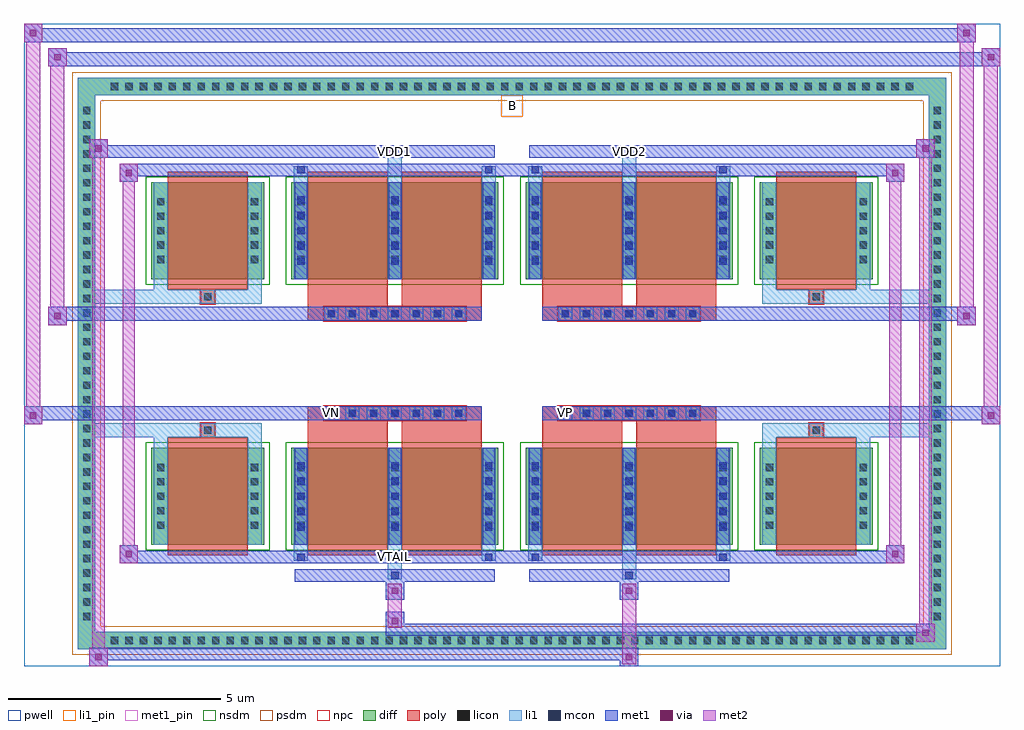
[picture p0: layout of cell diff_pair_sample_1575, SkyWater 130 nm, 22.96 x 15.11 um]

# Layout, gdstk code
import gdstk
lib = gdstk.Library(unit=1e-6, precision=5e-09)
def R(c, l, rs):  # rectangles x0, y0, x1, y1
    for r in rs: c.add(gdstk.rectangle(r[:2], r[2:], *l))
def A(c, l, x, y, w, h, nx, ny, dx, dy):  # array of equal rectangles
    R(c, l, [(x+i*dx, y+j*dy, x+i*dx+w, y+j*dy+h) for i in range(nx) for j in range(ny)])
def P(c, l, *ps):  # polygons
    for p in ps: c.add(gdstk.Polygon(p, *l))
pwell = (64, 44)
diff = (65, 20)
poly = (66, 20)
licon = (66, 44)
li1_pin = (67, 16)
li1 = (67, 20)
mcon = (67, 44)
met1_pin = (68, 16)
met1 = (68, 20)
via = (68, 44)
met2 = (69, 20)
nsdm = (93, 44)
psdm = (94, 20)
npc = (95, 20)

diff_pair_sample_1575 = lib.new_cell('diff_pair_sample_1575')
R(diff_pair_sample_1575, pwell, [(-11.48,-7.12,11.48,7.99), (-8.8,-5.31,-0.01,-0.805), (0.01,-5.31,8.8,-0.805), (-8.8,0.805,-0.01,5.31), (0.01,0.805,8.8,5.31)])
A(diff_pair_sample_1575, diff, -9.555, -6.72, 0.41, 0.41, 56, 2, 0.34, 13.03)
A(diff_pair_sample_1575, diff, -10.21, -6.155, 0.41, 0.41, 1, 36, 0, 0.34)
A(diff_pair_sample_1575, diff, 9.8, -6.155, 0.41, 0.41, 1, 36, 0, 0.34)
R(diff_pair_sample_1575, diff, [(-9.555,-6.72,9.555,-6.31), (-10.21,-6.155,-9.8,6.155), (9.8,-6.155,10.21,6.155), (-8.49,-4.265,-5.83,-1.985), (-5.19,-4.265,-0.32,-1.985), (0.32,-4.265,5.19,-1.985), (5.83,-4.265,8.49,-1.985), (-8.49,1.985,-5.83,4.265), (-5.19,1.985,-0.32,4.265), (0.32,1.985,5.19,4.265), (5.83,1.985,8.49,4.265), (-9.555,6.31,9.555,6.72)])
P(diff_pair_sample_1575, diff, [(10.21,6.72),(-10.21,6.72),(-10.21,-6.31),(-9.8,-6.31),(-9.8,6.31),(9.8,6.31),(9.8,-6.31),(-9.8,-6.31),(-10.21,-6.31),(-10.21,-6.72),(10.21,-6.72)])
A(diff_pair_sample_1575, poly, -4.42, -1.335, 0.33, 0.33, 7, 2, 0.5, 2.34)
A(diff_pair_sample_1575, poly, 1.09, -1.335, 0.33, 0.33, 7, 2, 0.5, 2.34)
R(diff_pair_sample_1575, poly, [(-8.1,-4.515,-6.22,-1.735), (-4.8,-4.515,-2.92,-1.735), (-2.59,-4.515,-0.71,-1.735), (0.71,-4.515,2.59,-1.735), (2.92,-4.515,4.8,-1.735), (6.22,-4.515,8.1,-1.735), (-7.325,-1.735,-6.995,-1.405), (-7.325,-1.735,-6.995,-1.405), (-4.8,-1.735,-2.92,-1.335), (-2.59,-1.735,-0.71,-1.335), (0.71,-1.735,2.59,-1.335), (2.92,-1.735,4.8,-1.335), (6.995,-1.735,7.325,-1.405), (6.995,-1.735,7.325,-1.405), (-4.8,-1.335,-0.71,-1.005), (0.71,-1.335,4.8,-1.005), (-4.8,1.005,-0.71,1.335), (0.71,1.005,4.8,1.335), (-4.8,1.335,-2.92,1.735), (-2.59,1.335,-0.71,1.735), (0.71,1.335,2.59,1.735), (2.92,1.335,4.8,1.735), (-7.325,1.405,-6.995,1.735), (-7.325,1.405,-6.995,1.735), (6.995,1.405,7.325,1.735), (6.995,1.405,7.325,1.735), (-8.1,1.735,-6.22,4.515), (-4.8,1.735,-2.92,4.515), (-2.59,1.735,-0.71,4.515), (0.71,1.735,2.59,4.515), (2.92,1.735,4.8,4.515), (6.22,1.735,8.1,4.515)])
A(diff_pair_sample_1575, licon, -9.435, -6.6, 0.17, 0.17, 56, 2, 0.34, 13.03)
A(diff_pair_sample_1575, licon, -10.09, -6.035, 0.17, 0.17, 1, 36, 0, 0.34)
A(diff_pair_sample_1575, licon, 9.92, -6.035, 0.17, 0.17, 1, 36, 0, 0.34)
A(diff_pair_sample_1575, licon, -8.35, -3.89, 0.17, 0.17, 1, 5, 0, 0.34)
A(diff_pair_sample_1575, licon, -6.14, -3.89, 0.17, 0.17, 1, 5, 0, 0.34)
A(diff_pair_sample_1575, licon, -5.05, -3.89, 0.17, 0.17, 3, 5, 2.21, 0.34)
A(diff_pair_sample_1575, licon, 0.46, -3.89, 0.17, 0.17, 3, 5, 2.21, 0.34)
A(diff_pair_sample_1575, licon, 5.97, -3.89, 0.17, 0.17, 1, 5, 0, 0.34)
A(diff_pair_sample_1575, licon, 8.18, -3.89, 0.17, 0.17, 1, 5, 0, 0.34)
A(diff_pair_sample_1575, licon, -4.34, -1.255, 0.17, 0.17, 7, 2, 0.5, 2.34)
A(diff_pair_sample_1575, licon, 1.17, -1.255, 0.17, 0.17, 7, 2, 0.5, 2.34)
A(diff_pair_sample_1575, licon, -8.35, 2.36, 0.17, 0.17, 1, 5, 0, 0.34)
A(diff_pair_sample_1575, licon, -6.14, 2.36, 0.17, 0.17, 1, 5, 0, 0.34)
A(diff_pair_sample_1575, licon, -5.05, 2.36, 0.17, 0.17, 3, 5, 2.21, 0.34)
A(diff_pair_sample_1575, licon, 0.46, 2.36, 0.17, 0.17, 3, 5, 2.21, 0.34)
A(diff_pair_sample_1575, licon, 5.97, 2.36, 0.17, 0.17, 1, 5, 0, 0.34)
A(diff_pair_sample_1575, licon, 8.18, 2.36, 0.17, 0.17, 1, 5, 0, 0.34)
R(diff_pair_sample_1575, licon, [(-7.245,-1.655,-7.075,-1.485), (7.075,-1.655,7.245,-1.485), (-7.245,1.485,-7.075,1.655), (7.075,1.485,7.245,1.655)])
R(diff_pair_sample_1575, li1_pin, [(-0.25,5.81,0.25,6.31)])
A(diff_pair_sample_1575, li1, -9.515, -6.68, 0.33, 0.33, 56, 2, 0.34, 13.03)
A(diff_pair_sample_1575, li1, -10.17, -6.115, 0.33, 0.33, 1, 36, 0, 0.34)
A(diff_pair_sample_1575, li1, 9.84, -6.115, 0.33, 0.33, 1, 36, 0, 0.34)
A(diff_pair_sample_1575, li1, -5.13, -4.265, 0.33, 2.28, 3, 2, 2.21, 6.25)
A(diff_pair_sample_1575, li1, 0.38, -4.265, 0.33, 2.28, 3, 2, 2.21, 6.25)
A(diff_pair_sample_1575, li1, -8.43, -3.97, 0.33, 0.33, 1, 5, 0, 0.34)
A(diff_pair_sample_1575, li1, -6.22, -3.97, 0.33, 0.33, 1, 5, 0, 0.34)
A(diff_pair_sample_1575, li1, -5.13, -3.97, 0.33, 0.33, 3, 5, 2.21, 0.34)
A(diff_pair_sample_1575, li1, 0.38, -3.97, 0.33, 0.33, 3, 5, 2.21, 0.34)
A(diff_pair_sample_1575, li1, 5.89, -3.97, 0.33, 0.33, 1, 5, 0, 0.34)
A(diff_pair_sample_1575, li1, 8.1, -3.97, 0.33, 0.33, 1, 5, 0, 0.34)
A(diff_pair_sample_1575, li1, -5.05, -3.93, 0.17, 0.17, 3, 5, 2.21, 0.36)
A(diff_pair_sample_1575, li1, -5.05, -3.93, 0.17, 1.61, 3, 2, 2.21, 6.25)
A(diff_pair_sample_1575, li1, 0.46, -3.93, 0.17, 0.17, 3, 5, 2.21, 0.36)
A(diff_pair_sample_1575, li1, 0.46, -3.93, 0.17, 1.61, 3, 2, 2.21, 6.25)
A(diff_pair_sample_1575, li1, -4.42, -1.335, 0.33, 0.33, 7, 2, 0.5, 2.34)
A(diff_pair_sample_1575, li1, 1.09, -1.335, 0.33, 0.33, 7, 2, 0.5, 2.34)
A(diff_pair_sample_1575, li1, -8.43, 2.28, 0.33, 0.33, 1, 5, 0, 0.34)
A(diff_pair_sample_1575, li1, -6.22, 2.28, 0.33, 0.33, 1, 5, 0, 0.34)
A(diff_pair_sample_1575, li1, -5.13, 2.28, 0.33, 0.33, 3, 5, 2.21, 0.34)
A(diff_pair_sample_1575, li1, 0.38, 2.28, 0.33, 0.33, 3, 5, 2.21, 0.34)
A(diff_pair_sample_1575, li1, 5.89, 2.28, 0.33, 0.33, 1, 5, 0, 0.34)
A(diff_pair_sample_1575, li1, 8.1, 2.28, 0.33, 0.33, 1, 5, 0, 0.34)
A(diff_pair_sample_1575, li1, -5.05, 2.32, 0.17, 0.17, 3, 5, 2.21, 0.36)
A(diff_pair_sample_1575, li1, 0.46, 2.32, 0.17, 0.17, 3, 5, 2.21, 0.36)
R(diff_pair_sample_1575, li1, [(-10.21,-6.72,-9.8,-6.31), (-10.21,-6.72,-9.8,-6.31), (-9.8,-6.72,9.8,-6.31), (9.8,-6.72,10.21,-6.31), (9.8,-6.72,10.21,-6.31), (-10.21,-6.31,-9.8,6.31), (9.8,-6.31,10.21,6.31), (-2.92,-5.07,-2.59,-4.265), (-2.84,-5.07,-2.67,-4.9), (2.59,-5.07,2.92,-4.265), (2.67,-5.07,2.84,-4.9), (-5.13,-4.64,-4.8,-4.265), (-5.05,-4.64,-4.88,-4.47), (-0.71,-4.64,-0.38,-4.265), (-0.63,-4.64,-0.46,-4.47), (0.38,-4.64,0.71,-4.265), (0.46,-4.64,0.63,-4.47), (4.8,-4.64,5.13,-4.265), (4.88,-4.64,5.05,-4.47), (-8.43,-4.265,-8.1,-1.985), (-6.22,-4.265,-5.89,-1.985), (5.89,-4.265,6.22,-1.985), (8.1,-4.265,8.43,-1.985), (-8.43,-1.985,-8.1,-1.405), (-6.22,-1.985,-5.89,-1.405), (5.89,-1.985,6.22,-1.405), (8.1,-1.985,8.43,-1.405), (-10.21,-1.735,-7.325,-1.405), (-8.43,-1.735,-7.325,-1.405), (-7.325,-1.735,-6.995,-1.405), (-6.995,-1.735,-5.89,-1.405), (5.89,-1.735,6.995,-1.405), (6.995,-1.735,7.325,-1.405), (6.995,-1.735,10.21,-1.405), (7.325,-1.735,8.43,-1.405), (-10.21,1.405,-7.325,1.735), (-8.43,1.405,-7.325,1.735), (-8.43,1.405,-8.1,1.985), (-7.325,1.405,-6.995,1.735), (-6.995,1.405,-5.89,1.735), (-6.22,1.405,-5.89,1.985), (5.89,1.405,6.995,1.735), (5.89,1.405,6.22,1.985), (6.995,1.405,7.325,1.735), (6.995,1.405,10.21,1.735), (7.325,1.405,8.43,1.735), (8.1,1.405,8.43,1.985), (-8.43,1.985,-8.1,4.265), (-6.22,1.985,-5.89,4.265), (5.89,1.985,6.22,4.265), (8.1,1.985,8.43,4.265), (-5.13,4.265,-4.8,4.64), (-2.92,4.265,-2.59,5.07), (-0.71,4.265,-0.38,4.64), (0.38,4.265,0.71,4.64), (2.59,4.265,2.92,5.07), (4.8,4.265,5.13,4.64), (-5.05,4.47,-4.88,4.64), (-0.63,4.47,-0.46,4.64), (0.46,4.47,0.63,4.64), (4.88,4.47,5.05,4.64), (-2.84,4.9,-2.67,5.07), (2.67,4.9,2.84,5.07), (-10.21,6.31,-9.8,6.72), (-10.21,6.31,-9.8,6.72), (-9.8,6.31,9.8,6.72), (9.8,6.31,10.21,6.72), (9.8,6.31,10.21,6.72)])
A(diff_pair_sample_1575, mcon, -5.05, -3.93, 0.17, 0.17, 3, 5, 2.21, 0.36)
A(diff_pair_sample_1575, mcon, 0.46, -3.93, 0.17, 0.17, 3, 5, 2.21, 0.36)
A(diff_pair_sample_1575, mcon, -4.34, -1.255, 0.17, 0.17, 7, 2, 0.5, 2.34)
A(diff_pair_sample_1575, mcon, 1.17, -1.255, 0.17, 0.17, 7, 2, 0.5, 2.34)
A(diff_pair_sample_1575, mcon, -5.05, 2.32, 0.17, 0.17, 3, 5, 2.21, 0.36)
A(diff_pair_sample_1575, mcon, 0.46, 2.32, 0.17, 0.17, 3, 5, 2.21, 0.36)
R(diff_pair_sample_1575, mcon, [(-2.84,-5.07,-2.67,-4.9), (2.67,-5.07,2.84,-4.9), (-5.05,-4.64,-4.88,-4.47), (-0.63,-4.64,-0.46,-4.47), (0.46,-4.64,0.63,-4.47), (4.88,-4.64,5.05,-4.47), (-5.05,4.47,-4.88,4.64), (-0.63,4.47,-0.46,4.64), (0.46,4.47,0.63,4.64), (4.88,4.47,5.05,4.64), (-2.84,4.9,-2.67,5.07), (2.67,4.9,2.84,5.07)])
R(diff_pair_sample_1575, met1_pin, [(-2.89,-4.68,-2.62,-4.41), (-4.39,-1.295,-4.12,-1.025), (1.12,-1.295,1.39,-1.025), (-2.89,4.86,-2.62,5.13), (2.62,4.86,2.89,5.13)])
A(diff_pair_sample_1575, met1, -5.11, -4.265, 0.29, 2.28, 3, 2, 2.21, 6.25)
A(diff_pair_sample_1575, met1, 0.4, -4.265, 0.29, 2.28, 3, 2, 2.21, 6.25)
A(diff_pair_sample_1575, met1, -5.11, -3.99, 0.29, 0.29, 3, 5, 2.21, 0.36)
A(diff_pair_sample_1575, met1, 0.4, -3.99, 0.29, 0.29, 3, 5, 2.21, 0.36)
A(diff_pair_sample_1575, met1, -4.4, -1.315, 0.29, 0.29, 7, 2, 0.5, 2.34)
A(diff_pair_sample_1575, met1, 1.11, -1.315, 0.29, 0.29, 7, 2, 0.5, 2.34)
A(diff_pair_sample_1575, met1, -5.11, 2.26, 0.29, 0.29, 3, 5, 2.21, 0.36)
A(diff_pair_sample_1575, met1, 0.4, 2.26, 0.29, 0.29, 3, 5, 2.21, 0.36)
R(diff_pair_sample_1575, met1, [(-9.94,-7.12,-9.51,-6.69), (2.54,-7.12,2.97,-6.69), (-9.94,-6.98,2.97,-6.69), (9.51,-6.55,9.94,-6.12), (-2.97,-6.41,9.94,-6.12), (-2.97,-6.27,-2.54,-5.84), (-2.97,-5.56,-2.54,-5.13), (2.54,-5.56,2.97,-5.13), (-5.11,-5.13,-0.4,-4.84), (-2.9,-5.13,-2.61,-4.84), (0.4,-5.13,5.11,-4.84), (2.61,-5.13,2.9,-4.84), (-9.23,-4.7,-8.8,-4.27), (-9.23,-4.7,-5.11,-4.41), (-5.11,-4.7,-4.82,-4.41), (-5.11,-4.7,-0.4,-4.41), (-0.69,-4.7,-0.4,-4.41), (-0.4,-4.7,0.4,-4.41), (0.4,-4.7,0.69,-4.41), (0.4,-4.7,5.11,-4.41), (4.82,-4.7,5.11,-4.41), (5.11,-4.7,9.23,-4.41), (8.8,-4.7,9.23,-4.27), (-11.48,-1.435,-11.05,-1.005), (11.05,-1.435,11.48,-1.005), (-11.48,-1.335,-0.71,-1.005), (-4.8,-1.335,-0.71,-1.005), (0.71,-1.335,4.8,-1.005), (0.71,-1.335,11.48,-1.005), (-10.91,0.905,-10.48,1.335), (10.48,0.905,10.91,1.335), (-10.91,1.005,-4.8,1.335), (-4.8,1.005,-0.71,1.335), (0.71,1.005,4.8,1.335), (4.8,1.005,10.91,1.335), (-9.23,4.27,-8.8,4.7), (8.8,4.27,9.23,4.7), (-9.23,4.41,-5.11,4.7), (-5.11,4.41,-4.82,4.7), (-5.11,4.41,-0.4,4.7), (-0.69,4.41,-0.4,4.7), (-0.4,4.41,0.4,4.7), (0.4,4.41,0.69,4.7), (0.4,4.41,5.11,4.7), (4.82,4.41,5.11,4.7), (5.11,4.41,9.23,4.7), (-9.94,4.84,-9.51,5.27), (-9.94,4.84,-5.11,5.13), (-5.11,4.84,-0.4,5.13), (-2.9,4.84,-2.61,5.13), (0.4,4.84,5.11,5.13), (2.61,4.84,2.9,5.13), (5.11,4.84,9.94,5.13), (9.51,4.84,9.94,5.27), (-10.91,6.99,-10.48,7.42), (-10.91,6.99,-8.8,7.32), (-8.8,6.99,8.8,7.32), (8.8,6.99,11.48,7.32), (11.05,6.99,11.48,7.42), (-11.48,7.56,-11.05,7.99), (-11.48,7.56,-8.8,7.89), (-8.8,7.56,8.8,7.89), (8.8,7.56,10.91,7.89), (10.48,7.56,10.91,7.99)])
R(diff_pair_sample_1575, via, [(-9.8,-6.98,-9.65,-6.83), (2.68,-6.98,2.83,-6.83), (9.65,-6.41,9.8,-6.26), (-2.83,-6.13,-2.68,-5.98), (-2.83,-5.42,-2.68,-5.27), (2.68,-5.42,2.83,-5.27), (-9.09,-4.56,-8.94,-4.41), (8.94,-4.56,9.09,-4.41), (-11.34,-1.295,-11.19,-1.145), (11.19,-1.295,11.34,-1.145), (-10.77,1.045,-10.62,1.195), (10.62,1.045,10.77,1.195), (-9.09,4.41,-8.94,4.56), (8.94,4.41,9.09,4.56), (-9.8,4.98,-9.65,5.13), (9.65,4.98,9.8,5.13), (-10.77,7.13,-10.62,7.28), (11.19,7.13,11.34,7.28), (-11.34,7.7,-11.19,7.85), (10.62,7.7,10.77,7.85)])
R(diff_pair_sample_1575, met2, [(-9.94,-7.12,-9.51,-6.69), (-9.87,-7.12,-9.58,5.27), (-9.58,-7.12,-9.51,-6.69), (-9.89,-7.07,-9.56,-6.74), (2.59,-7.07,2.92,-6.74), (2.59,-6.74,2.92,-5.51), (9.51,-6.55,9.94,-6.12), (9.58,-6.55,9.87,5.27), (9.87,-6.55,9.94,-6.12), (9.56,-6.5,9.89,-6.17), (-2.92,-6.22,-2.59,-5.89), (-2.92,-5.89,-2.59,-5.51), (-2.92,-5.51,-2.59,-5.18), (2.59,-5.51,2.92,-5.18), (-9.23,-4.7,-8.8,-4.27), (-9.16,-4.7,-8.87,4.7), (-8.87,-4.7,-8.8,-4.27), (8.8,-4.7,9.23,-4.27), (8.87,-4.7,9.16,4.7), (9.16,-4.7,9.23,-4.27), (-9.18,-4.65,-8.85,-4.32), (8.85,-4.65,9.18,-4.32), (-11.48,-1.435,-11.05,-1.005), (-11.43,-1.435,-11.1,7.99), (-11.1,-1.435,-11.05,-1.005), (11.05,-1.435,11.48,-1.005), (11.1,-1.435,11.43,7.42), (11.43,-1.435,11.48,-1.005), (-11.43,-1.385,-11.1,-1.055), (11.1,-1.385,11.43,-1.055), (-10.91,0.905,-10.48,1.335), (-10.86,0.905,-10.53,7.42), (-10.53,0.905,-10.48,1.335), (10.48,0.905,10.91,1.335), (10.53,0.905,10.86,7.99), (10.86,0.905,10.91,1.335), (-10.86,0.955,-10.53,1.285), (10.53,0.955,10.86,1.285), (-9.23,4.27,-8.8,4.7), (-8.87,4.27,-8.8,4.7), (8.8,4.27,9.23,4.7), (9.16,4.27,9.23,4.7), (-9.18,4.32,-8.85,4.65), (8.85,4.32,9.18,4.65), (-9.94,4.84,-9.51,5.27), (-9.58,4.84,-9.51,5.27), (9.51,4.84,9.94,5.27), (9.87,4.84,9.94,5.27), (-9.89,4.89,-9.56,5.22), (9.56,4.89,9.89,5.22), (-10.91,6.99,-10.48,7.42), (-10.53,6.99,-10.48,7.42), (11.05,6.99,11.48,7.42), (11.43,6.99,11.48,7.42), (-10.86,7.04,-10.53,7.37), (11.1,7.04,11.43,7.37), (-11.48,7.56,-11.05,7.99), (-11.1,7.56,-11.05,7.99), (10.48,7.56,10.91,7.99), (10.86,7.56,10.91,7.99), (-11.43,7.61,-11.1,7.94), (10.53,7.61,10.86,7.94)])
R(diff_pair_sample_1575, nsdm, [(-8.62,-4.395,-5.7,-1.855), (-5.32,-4.395,-0.19,-1.855), (0.19,-4.395,5.32,-1.855), (5.7,-4.395,8.62,-1.855), (-8.62,1.855,-5.7,4.395), (-5.32,1.855,-0.19,4.395), (0.19,1.855,5.32,4.395), (5.7,1.855,8.62,4.395)])
P(diff_pair_sample_1575, psdm, [(10.34,6.85),(-10.34,6.85),(-10.34,-6.18),(-9.67,-6.18),(-9.67,6.18),(9.67,6.18),(9.67,-6.18),(-9.67,-6.18),(-10.34,-6.18),(-10.34,-6.85),(10.34,-6.85)])
A(diff_pair_sample_1575, npc, -4.44, -1.355, 0.37, 0.37, 7, 2, 0.5, 2.34)
A(diff_pair_sample_1575, npc, 1.07, -1.355, 0.37, 0.37, 7, 2, 0.5, 2.34)
R(diff_pair_sample_1575, npc, [(-7.345,-1.755,-6.975,-1.385), (6.975,-1.755,7.345,-1.385), (-4.44,-1.355,-3.57,-0.985), (-4.44,-1.355,-3.57,-0.985), (-3.94,-1.355,-3.07,-0.985), (-3.94,-1.355,-3.07,-0.985), (-3.44,-1.355,-2.57,-0.985), (-3.44,-1.355,-2.57,-0.985), (-2.94,-1.355,-2.07,-0.985), (-2.94,-1.355,-2.07,-0.985), (-2.44,-1.355,-1.57,-0.985), (-2.44,-1.355,-1.57,-0.985), (-1.94,-1.355,-1.07,-0.985), (-1.94,-1.355,-1.07,-0.985), (1.07,-1.355,1.94,-0.985), (1.07,-1.355,1.94,-0.985), (1.57,-1.355,2.44,-0.985), (1.57,-1.355,2.44,-0.985), (2.07,-1.355,2.94,-0.985), (2.07,-1.355,2.94,-0.985), (2.57,-1.355,3.44,-0.985), (2.57,-1.355,3.44,-0.985), (3.07,-1.355,3.94,-0.985), (3.07,-1.355,3.94,-0.985), (3.57,-1.355,4.44,-0.985), (3.57,-1.355,4.44,-0.985), (-4.44,0.985,-3.57,1.355), (-4.44,0.985,-3.57,1.355), (-3.94,0.985,-3.07,1.355), (-3.94,0.985,-3.07,1.355), (-3.44,0.985,-2.57,1.355), (-3.44,0.985,-2.57,1.355), (-2.94,0.985,-2.07,1.355), (-2.94,0.985,-2.07,1.355), (-2.44,0.985,-1.57,1.355), (-2.44,0.985,-1.57,1.355), (-1.94,0.985,-1.07,1.355), (-1.94,0.985,-1.07,1.355), (1.07,0.985,1.94,1.355), (1.07,0.985,1.94,1.355), (1.57,0.985,2.44,1.355), (1.57,0.985,2.44,1.355), (2.07,0.985,2.94,1.355), (2.07,0.985,2.94,1.355), (2.57,0.985,3.44,1.355), (2.57,0.985,3.44,1.355), (3.07,0.985,3.94,1.355), (3.07,0.985,3.94,1.355), (3.57,0.985,4.44,1.355), (3.57,0.985,4.44,1.355), (-7.345,1.385,-6.975,1.755), (6.975,1.385,7.345,1.755)])
diff_pair_sample_1575.add(gdstk.Label('VTAIL', (-2.755,-4.545), layer=68, texttype=5))
diff_pair_sample_1575.add(gdstk.Label('VN', (-4.255,-1.16), layer=68, texttype=5))
diff_pair_sample_1575.add(gdstk.Label('VP', (1.255,-1.16), layer=68, texttype=5))
diff_pair_sample_1575.add(gdstk.Label('B', (0,6.06), layer=67, texttype=5))
diff_pair_sample_1575.add(gdstk.Label('VDD2', (2.755,4.995), layer=68, texttype=5))
diff_pair_sample_1575.add(gdstk.Label('VDD1', (-2.755,4.995), layer=68, texttype=5))

lib.write_gds('diff_pair_sample_1575.gds')
